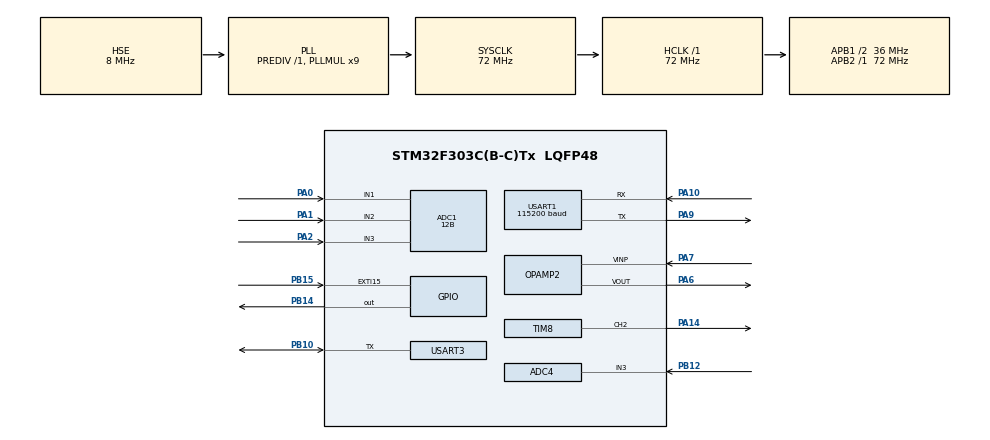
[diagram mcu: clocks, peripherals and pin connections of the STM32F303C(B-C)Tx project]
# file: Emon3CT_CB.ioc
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ADC1.Channel-0\#ChannelRegularConversion=ADC_CHANNEL_1
ADC1.Channel-1\#ChannelRegularConversion=ADC_CHANNEL_2
ADC1.Channel-2\#ChannelRegularConversion=ADC_CHANNEL_3
ADC1.ClockPrescaler=ADC_CLOCK_SYNC_PCLK_DIV2
ADC1.ContinuousConvMode=ENABLE
ADC1.DMAContinuousRequests=ENABLE
ADC1.DataAlign=ADC_DATAALIGN_RIGHT
ADC1.DiscontinuousConvMode=DISABLE
ADC1.EOCSelection=ADC_EOC_SEQ_CONV
ADC1.EnableAnalogWatchDog1=false
ADC1.EnableAnalogWatchDog2=false
ADC1.EnableAnalogWatchDog3=false
ADC1.EnableInjectedConversion=ENABLE
ADC1.EnableRegularConversion=ENABLE
ADC1.ExternalTrigConv=ADC_EXTERNALTRIGCONV_T8_TRGO2
ADC1.ExternalTrigConvEdge=ADC_EXTERNALTRIGCONVEDGE_RISING
ADC1.InjNumberOfConversion=0
ADC1.LowPowerAutoWait=DISABLE
ADC1.NbrOfConversion=3
ADC1.NbrOfConversionFlag=1
ADC1.Offset-0\#ChannelRegularConversion=0
ADC1.Offset-1\#ChannelRegularConversion=0
ADC1.Offset-2\#ChannelRegularConversion=0
ADC1.OffsetNumber-0\#ChannelRegularConversion=ADC_OFFSET_NONE
ADC1.OffsetNumber-1\#ChannelRegularConversion=ADC_OFFSET_NONE
ADC1.OffsetNumber-2\#ChannelRegularConversion=ADC_OFFSET_NONE
ADC1.Overrun=ADC_OVR_DATA_OVERWRITTEN
ADC1.Rank-0\#ChannelRegularConversion=1
ADC1.Rank-1\#ChannelRegularConversion=2
ADC1.Rank-2\#ChannelRegularConversion=3
ADC1.Resolution=ADC_RESOLUTION_12B
ADC1.SamplingTime-0\#ChannelRegularConversion=ADC_SAMPLETIME_601CYCLES_5
ADC1.SamplingTime-1\#ChannelRegularConversion=ADC_SAMPLETIME_601CYCLES_5
ADC1.SamplingTime-2\#ChannelRegularConversion=ADC_SAMPLETIME_601CYCLES_5
ADC1.ScanConvMode=ADC_SCAN_ENABLE
ADC1.master=1
ADC4.Channel-0\#ChannelRegularConversion=ADC_CHANNEL_3
ADC4.ClockPrescaler=ADC_CLOCK_SYNC_PCLK_DIV2
ADC4.ContinuousConvMode=ENABLE
ADC4.DMAContinuousRequests=ENABLE
ADC4.DataAlign=ADC_DATAALIGN_RIGHT
ADC4.DiscontinuousConvMode=DISABLE
ADC4.EOCSelection=ADC_EOC_SEQ_CONV
ADC4.EnableAnalogWatchDog1=false
ADC4.EnableAnalogWatchDog2=false
ADC4.EnableAnalogWatchDog3=false
ADC4.EnableInjectedConversion=ENABLE
ADC4.EnableRegularConversion=ENABLE
ADC4.ExternalTrigConv=ADC_EXTERNALTRIGCONV_T8_TRGO2
ADC4.ExternalTrigConvEdge=ADC_EXTERNALTRIGCONVEDGE_RISING
ADC4.InjNumberOfConversion=0
ADC4.LowPowerAutoWait=DISABLE
ADC4.NbrOfConversion=1
ADC4.NbrOfConversionFlag=1
ADC4.Offset-0\#ChannelRegularConversion=0
ADC4.OffsetNumber-0\#ChannelRegularConversion=ADC_OFFSET_NONE
ADC4.Overrun=ADC_OVR_DATA_OVERWRITTEN
ADC4.Rank-0\#ChannelRegularConversion=1
ADC4.Resolution=ADC_RESOLUTION_12B
ADC4.SamplingTime-0\#ChannelRegularConversion=ADC_SAMPLETIME_601CYCLES_5
ADC4.ScanConvMode=ADC_SCAN_DISABLE
Dma.ADC1.0.Direction=DMA_PERIPH_TO_MEMORY
Dma.ADC1.0.Instance=DMA1_Channel1
Dma.ADC1.0.MemDataAlignment=DMA_MDATAALIGN_HALFWORD
Dma.ADC1.0.MemInc=DMA_MINC_ENABLE
Dma.ADC1.0.Mode=DMA_CIRCULAR
Dma.ADC1.0.PeriphDataAlignment=DMA_PDATAALIGN_HALFWORD
Dma.ADC1.0.PeriphInc=DMA_PINC_DISABLE
Dma.ADC1.0.Priority=DMA_PRIORITY_HIGH
Dma.ADC4.1.Direction=DMA_PERIPH_TO_MEMORY
Dma.ADC4.1.Instance=DMA2_Channel2
Dma.ADC4.1.MemDataAlignment=DMA_MDATAALIGN_HALFWORD
Dma.ADC4.1.MemInc=DMA_MINC_ENABLE
Dma.ADC4.1.Mode=DMA_CIRCULAR
Dma.ADC4.1.PeriphDataAlignment=DMA_PDATAALIGN_HALFWORD
Dma.ADC4.1.PeriphInc=DMA_PINC_DISABLE
Dma.ADC4.1.Priority=DMA_PRIORITY_HIGH
Dma.Request0=ADC1
Dma.Request1=ADC4
Dma.Request2=USART3_RX
Dma.Request3=USART3_TX
Dma.USART3_RX.2.Direction=DMA_PERIPH_TO_MEMORY
Dma.USART3_RX.2.Instance=DMA1_Channel3
Dma.USART3_RX.2.MemDataAlignment=DMA_MDATAALIGN_BYTE
Dma.USART3_RX.2.MemInc=DMA_MINC_ENABLE
Dma.USART3_RX.2.Mode=DMA_NORMAL
Dma.USART3_RX.2.PeriphDataAlignment=DMA_PDATAALIGN_BYTE
Dma.USART3_RX.2.PeriphInc=DMA_PINC_DISABLE
Dma.USART3_RX.2.Priority=DMA_PRIORITY_LOW
Dma.USART3_TX.3.Direction=DMA_MEMORY_TO_PERIPH
Dma.USART3_TX.3.Instance=DMA1_Channel2
Dma.USART3_TX.3.MemDataAlignment=DMA_MDATAALIGN_BYTE
Dma.USART3_TX.3.MemInc=DMA_MINC_ENABLE
Dma.USART3_TX.3.Mode=DMA_NORMAL
Dma.USART3_TX.3.PeriphDataAlignment=DMA_PDATAALIGN_BYTE
Dma.USART3_TX.3.PeriphInc=DMA_PINC_DISABLE
Dma.USART3_TX.3.Priority=DMA_PRIORITY_LOW
Mcu.Family=STM32F3
Mcu.Name=STM32F303C(B-C)Tx
Mcu.Package=LQFP48
NVIC.DMA1_Channel1_IRQn=true\:0\:0\:false\:false\:true\:false
NVIC.DMA1_Channel2_IRQn=true\:0\:0\:false\:false\:true\:false
NVIC.DMA1_Channel3_IRQn=true\:0\:0\:false\:false\:true\:false
NVIC.DMA2_Channel2_IRQn=true\:0\:0\:false\:false\:true\:false
NVIC.EXTI15_10_IRQn=true\:0\:0\:false\:false\:true\:true
NVIC.PriorityGroup=NVIC_PRIORITYGROUP_4
NVIC.USART3_IRQn=true\:0\:0\:false\:false\:true\:true
PA0.Mode=IN1-Single-Ended
PA0.Signal=ADC1_IN1
PA1.Mode=IN2-Single-Ended
PA1.Signal=ADC1_IN2
PA10.Mode=Asynchronous
PA10.Signal=USART1_RX
PA14.Signal=S_TIM8_CH2
PA2.Mode=IN3-Single-Ended
PA2.Signal=ADC1_IN3
PA6.Mode=Follower
PA6.Signal=OPAMP2_VOUT
PA7.Mode=Follower
PA7.Signal=OPAMP2_VINP
PA9.Mode=Asynchronous
PA9.Signal=USART1_TX
PB10.Mode=Half_duplex(single_wire_mode)
PB10.Signal=USART3_TX
PB12.Mode=IN3-Single-Ended
PB12.Signal=ADC4_IN3
PB14.Signal=GPIO_Output
PB15.Signal=GPXTI15
PF0-OSC_IN.Mode=HSE-External-Oscillator
PF0-OSC_IN.Signal=RCC_OSC_IN
PF1-OSC_OUT.Mode=HSE-External-Oscillator
PF1-OSC_OUT.Signal=RCC_OSC_OUT
ProjectManager.HeapSize=0x200
ProjectManager.StackSize=0x400
ProjectManager.TargetToolchain=Makefile
RCC.AHBFreq_Value=72000000
RCC.APB1CLKDivider=RCC_HCLK_DIV2
RCC.APB1Freq_Value=36000000
RCC.APB1TimFreq_Value=72000000
RCC.APB2Freq_Value=72000000
RCC.APB2TimFreq_Value=72000000
RCC.CortexFreq_Value=72000000
RCC.HCLKFreq_Value=72000000
RCC.HSE_VALUE=8000000
RCC.HSI_VALUE=8000000
RCC.LSE_VALUE=32768
RCC.PLLMUL=RCC_PLL_MUL9
RCC.PLLSourceVirtual=RCC_PLLSOURCE_HSE
RCC.SYSCLKFreq_VALUE=72000000
RCC.SYSCLKSourceVirtual=RCC_SYSCLKSOURCE_PLLCLK
RCC.USBFreq_Value=72000000
SH.S_TIM8_CH2.0=TIM8_CH2,PWM Generation2 CH2
TIM8.Channel-PWM\ Generation2\ CH2=TIM_CHANNEL_2
TIM8.Period=9999
TIM8.Prescaler=71
TIM8.TIM_MasterOutputTrigger2=TIM_TRGO2_OC2REF
USART1.BaudRate=115200
USART1.VirtualMode-Asynchronous=VM_ASYNC
USART3.BaudRate=115200
USART3.VirtualMode-Half_duplex(single_wire_mode)=VM_ASYNC
board=Emon3CT_CB

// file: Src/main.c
/**
  ******************************************************************************
  * @file           : main.c
  * @brief          : Main program body
  ******************************************************************************
  ** This notice applies to any and all portions of this file
  * that are not between comment pairs USER CODE BEGIN and
  * USER CODE END. Other portions of this file, whether
  * inserted by the user or by software development tools
  * are owned by their respective copyright owners.
  *
  * COPYRIGHT(c) 2019 STMicroelectronics
  *
  * Redistribution and use in source and binary forms, with or without modification,
  * are permitted provided that the following conditions are met:
  *   1. Redistributions of source code must retain the above copyright notice,
  *      this list of conditions and the following disclaimer.
  *   2. Redistributions in binary form must reproduce the above copyright notice,
  *      this list of conditions and the following disclaimer in the documentation
  *      and/or other materials provided with the distribution.
  *   3. Neither the name of STMicroelectronics nor the names of its contributors
  *      may be used to endorse or promote products derived from this software
  *      without specific prior written permission.
  *
  * THIS SOFTWARE IS PROVIDED BY THE COPYRIGHT HOLDERS AND CONTRIBUTORS "AS IS"
  * AND ANY EXPRESS OR IMPLIED WARRANTIES, INCLUDING, BUT NOT LIMITED TO, THE
  * IMPLIED WARRANTIES OF MERCHANTABILITY AND FITNESS FOR A PARTICULAR PURPOSE ARE
  * DISCLAIMED. IN NO EVENT SHALL THE COPYRIGHT HOLDER OR CONTRIBUTORS BE LIABLE
  * FOR ANY DIRECT, INDIRECT, INCIDENTAL, SPECIAL, EXEMPLARY, OR CONSEQUENTIAL
  * DAMAGES (INCLUDING, BUT NOT LIMITED TO, PROCUREMENT OF SUBSTITUTE GOODS OR
  * SERVICES; LOSS OF USE, DATA, OR PROFITS; OR BUSINESS INTERRUPTION) HOWEVER
  * CAUSED AND ON ANY THEORY OF LIABILITY, WHETHER IN CONTRACT, STRICT LIABILITY,
  * OR TORT (INCLUDING NEGLIGENCE OR OTHERWISE) ARISING IN ANY WAY OUT OF THE USE
  * OF THIS SOFTWARE, EVEN IF ADVISED OF THE POSSIBILITY OF SUCH DAMAGE.
  *
  ******************************************************************************
  */
#include "main.h"
#include "stm32f3xx_hal.h"
#include "adc.h"
#include "dma.h"
#include "opamp.h"
#include "tim.h"
#include "usart.h"
#include "gpio.h"

/* USER CODE BEGIN Includes */

#include "ds18b20.h"

/* USER CODE END Includes */

/* USER CODE BEGIN PV */
/* Private variables ---------------------------------------------------------*/

#define true 1
#define false 0
#define MID_ADC_READING 2048

// Serial output buffer
char log_buffer[150];

// Flag
int8_t readings_ready = false;

// Calibration
double VCAL = 268.97;
double ICAL = 90.9;

// ISR accumulators
typedef struct channel_ {
  int64_t sum_P;
  uint64_t sum_V_sq;
  uint64_t sum_I_sq;
  int64_t sum_V;
  int64_t sum_I;
  uint64_t count;

  uint8_t positive_V;
  uint8_t last_positive_V;
  uint8_t cycles;
} channel_t;

uint64_t pulseCount = 0;

static channel_t channels[3];
static channel_t channels_copy[3];

/* USER CODE END PV */

void SystemClock_Config(void);

/* USER CODE BEGIN PFP */
/* Private function prototypes -----------------------------------------------*/

/* USER CODE END PFP */

/* USER CODE BEGIN 0 */
void process_frame(uint16_t offset)
{
  int32_t sample_V, sample_I, signed_V, signed_I;

  //HAL_GPIO_WritePin(GPIOB, GPIO_PIN_14, GPIO_PIN_SET);
  for (int i=0; i<3000; i+=3) {
    // Cycle through channels
    for (int n=0; n<3; n++) {
      channel_t* channel = &channels[n];

      // ----------------------------------------
      // Voltage
      sample_V = adc4_dma_buff[offset+i+n];
      signed_V = sample_V - MID_ADC_READING;
      channel->sum_V += signed_V;
      channel->sum_V_sq += signed_V * signed_V;
      // ----------------------------------------
      // Current
      sample_I = adc1_dma_buff[offset+i+n];
      signed_I = sample_I - MID_ADC_READING;
      channel->sum_I += signed_I;
      channel->sum_I_sq += signed_I * signed_I;
      // ----------------------------------------
      // Power
      channel->sum_P += signed_V * signed_I;

      channel->count ++;

      // Zero crossing detection
      channel->last_positive_V = channel->positive_V;
      if (signed_V > 0) channel->positive_V = true; else channel->positive_V = false;
      if (!channel->last_positive_V && channel->positive_V) channel->cycles++;

      // 125 cycles or 2.5 seconds
      if (channel->cycles>=125) {
        channel->cycles = 0;

        channel_t* channel_copy = &channels_copy[n];
        // Copy accumulators for use in main loop
        memcpy ((void*)channel_copy, (void*)channel, sizeof(channel_t));
        // Reset accumulators to zero ready for next set of measurements
        memset((void*)channel, 0, sizeof(channel_t));

        if (n==2) {
          readings_ready = true;
        }
      }
    }
  }
  //HAL_GPIO_WritePin(GPIOB, GPIO_PIN_5, GPIO_PIN_RESET);
}

/* USER CODE END 0 */

int main(void)
{

  /* MCU Configuration----------------------------------------------------------*/

  /* Reset of all peripherals, Initializes the Flash interface and the Systick. */
  HAL_Init();

  /* USER CODE BEGIN Init */
  double V_RATIO = VCAL * (3.3 / 4096.0);
  double I_RATIO = ICAL * (3.3 / 4096.0);
  /* USER CODE END Init */

  /* Configure the system clock */
  SystemClock_Config();

  /* Initialize all configured peripherals */
  MX_GPIO_Init();
  MX_DMA_Init();
  MX_OPAMP2_Init();
  MX_USART1_UART_Init();
  MX_ADC1_Init();
  MX_ADC4_Init();
  MX_TIM8_Init();
  MX_USART3_UART_Init();
  /* USER CODE BEGIN 2 */

  HAL_OPAMP_Start(&hopamp2);

  //sprintf(log_buffer,"init init_ds18b20s\r\n");
  //debug_printf(log_buffer);

  init_ds18b20s();

  //sprintf(log_buffer,"Vrms\tIrms\tRP\tAP\tPF\tCount\tPulse\r\n");
  //debug_printf(log_buffer);

  start_ADCs();

  /* USER CODE END 2 */

  /* Infinite loop */
  /* USER CODE BEGIN WHILE */
  while (1)
  {
     if (readings_ready) {
       readings_ready = false;
       process_ds18b20s();

       for (int n=0; n<3; n++) {
         channel_t* chn = &channels_copy[n];

         double Vmean = chn->sum_V * (1.0 / chn->count);
         double Imean = chn->sum_I * (1.0 / chn->count);

         chn->sum_V_sq *= (1.0 / chn->count);
         chn->sum_V_sq -= (Vmean*Vmean);
         double Vrms = V_RATIO * sqrt((double)chn->sum_V_sq);

         chn->sum_I_sq *= (1.0 / chn->count);
         chn->sum_I_sq -= (Imean*Imean);
         double Irms = I_RATIO * sqrt((double)chn->sum_I_sq);

         double mean_P = (chn->sum_P * (1.0 / chn->count)) - (Vmean*Imean);
         double realPower = V_RATIO * I_RATIO * mean_P;

         double apparentPower = Vrms * Irms;
         double powerFactor = realPower / apparentPower;

         sprintf(log_buffer,"V%d:%.2f,I%d:%.3f,RP%d:%.1f,AP%d:%.1f,PF%d:%.3f,C%d:%lld,", n,Vrms,n,Irms,n,realPower,n,apparentPower,n,powerFactor,n,chn->count);
         debug_printf(log_buffer);

       }

       //sprintf(log_buffer,"\r\n");
       //debug_printf(log_buffer);

       sprintf(log_buffer,"PC:%d\r\n",pulseCount);
       debug_printf(log_buffer);

     }
  /* USER CODE END WHILE */

  }

}

void SystemClock_Config(void)
{

  RCC_OscInitTypeDef RCC_OscInitStruct;
  RCC_ClkInitTypeDef RCC_ClkInitStruct;
  RCC_PeriphCLKInitTypeDef PeriphClkInit;

    /**Initializes the CPU, AHB and APB busses clocks
    */
  RCC_OscInitStruct.OscillatorType = RCC_OSCILLATORTYPE_HSE;
  RCC_OscInitStruct.HSEState = RCC_HSE_ON;
  RCC_OscInitStruct.HSEPredivValue = RCC_HSE_PREDIV_DIV1;
  RCC_OscInitStruct.HSIState = RCC_HSI_ON;
  RCC_OscInitStruct.PLL.PLLState = RCC_PLL_ON;
  RCC_OscInitStruct.PLL.PLLSource = RCC_PLLSOURCE_HSE;
  RCC_OscInitStruct.PLL.PLLMUL = RCC_PLL_MUL9;
  if (HAL_RCC_OscConfig(&RCC_OscInitStruct) != HAL_OK)
  {
    _Error_Handler(__FILE__, __LINE__);
  }

    /**Initializes the CPU, AHB and APB busses clocks
    */
  RCC_ClkInitStruct.ClockType = RCC_CLOCKTYPE_HCLK|RCC_CLOCKTYPE_SYSCLK
                              |RCC_CLOCKTYPE_PCLK1|RCC_CLOCKTYPE_PCLK2;
  RCC_ClkInitStruct.SYSCLKSource = RCC_SYSCLKSOURCE_PLLCLK;
  RCC_ClkInitStruct.AHBCLKDivider = RCC_SYSCLK_DIV1;
  RCC_ClkInitStruct.APB1CLKDivider = RCC_HCLK_DIV2;
  RCC_ClkInitStruct.APB2CLKDivider = RCC_HCLK_DIV1;

  if (HAL_RCC_ClockConfig(&RCC_ClkInitStruct, FLASH_LATENCY_2) != HAL_OK)
  {
    _Error_Handler(__FILE__, __LINE__);
  }

  PeriphClkInit.PeriphClockSelection = RCC_PERIPHCLK_USART1|RCC_PERIPHCLK_USART3
                              |RCC_PERIPHCLK_TIM8;
  PeriphClkInit.Usart1ClockSelection = RCC_USART1CLKSOURCE_PCLK2;
  PeriphClkInit.Usart3ClockSelection = RCC_USART3CLKSOURCE_PCLK1;
  PeriphClkInit.Tim8ClockSelection = RCC_TIM8CLK_HCLK;
  if (HAL_RCCEx_PeriphCLKConfig(&PeriphClkInit) != HAL_OK)
  {
    _Error_Handler(__FILE__, __LINE__);
  }

    /**Configure the Systick interrupt time
    */
  HAL_SYSTICK_Config(HAL_RCC_GetHCLKFreq()/1000);

    /**Configure the Systick
    */
  HAL_SYSTICK_CLKSourceConfig(SYSTICK_CLKSOURCE_HCLK);

  /* SysTick_IRQn interrupt configuration */
  HAL_NVIC_SetPriority(SysTick_IRQn, 0, 0);
}

/* USER CODE BEGIN 4 */

void onPulse() {
    pulseCount ++;
}

/* USER CODE END 4 */

void _Error_Handler(char *file, int line)
{
  while(1)
  {
  }
}

/************************ (C) COPYRIGHT STMicroelectronics *****END OF FILE****/
